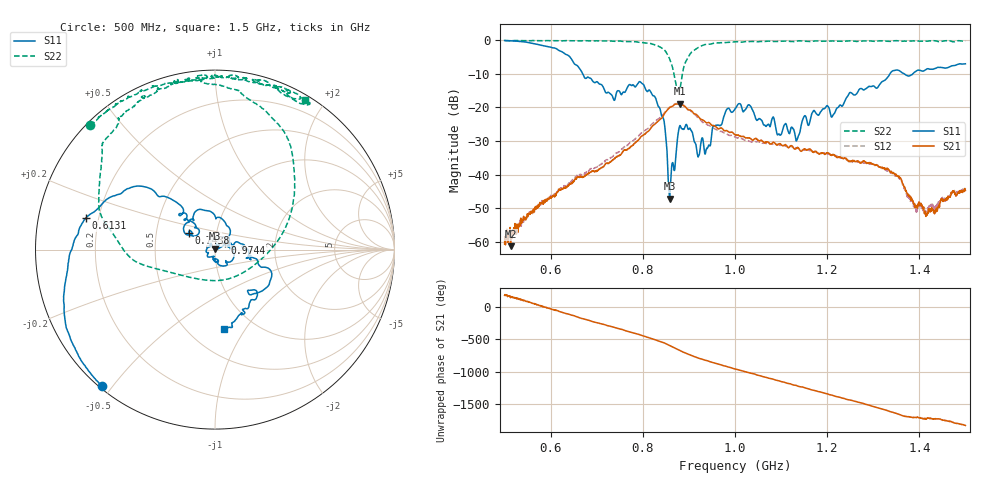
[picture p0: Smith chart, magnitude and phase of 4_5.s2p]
!Agilent Technologies,E8364B,US42250235,A.06.04.32
!Agilent E8364B: A.06.04.32
!Date: Friday, January 15, 2021 16:28:08
!Correction: S11(Full 2 Port(1,2)) S21(Full 2 Port(1,2)) S12(Full 2 Port(1,2)) S22(Full 2 Port(1,2))
!S2P File: Measurements: S11, S21, S12, S22:
# Hz S  dB  R 50
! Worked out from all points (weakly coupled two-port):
!   1601 points, 500 MHz to 1.5 GHz, reference 50 ohm
!   highest |S21| = -18.91 dB at 880 MHz (marker M1); lowest = -61.3 dB at 513.1 MHz (marker M2)
!   lowest |S11| = -47.2 dB at 858.1 MHz (marker M3), VSWR 1.01, Z = 50.1 + j0.434 ohm
!   |S11| at or under -10 dB: 669.6 MHz to 1.336 GHz (666.7 MHz wide, 66.5 % of centre); 1.367 GHz to 1.386 GHz (19.66 MHz wide, 1.43 % of centre)
!   |S22| runs from -15.2 to -0.1 dB; largest |S21 - S12| = 0.0081
!   S11 on the Smith chart (normalised r, x): 500 MHz: 0.01, -0.47; 613.1 MHz: 0.15, +0.12; 743.8 MHz: 0.74, +0.14; 974.4 MHz: 1.12, +0.08; 1.5 GHz: 0.73, -0.80
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5e8  -0.11 -129.5  -60.63 175.7  -60.30 -160.2  -0.17 135.1
5.13125e8  -0.19 -134.9  -61.32 138.2  -58.55 151.9  -0.19 132.0
6.13125e8  -2.62 166.1  -45.26 -56.3  -45.52 -52.1  -0.19 122.5
6.66875e8  -9.34 129.2  -40.61 -178.7  -40.15 -172.1  -0.21 114.7
7.4375e8  -15.32 147.6  -34.59 31.8  -33.49 34.4  -0.30 102.2
7.95625e8  -12.59 108.3  -28.75 -74.6  -27.76 -75.8  -0.73 90.7
8.3375e8  -19.76 42.0  -24.08 -164.9  -23.46 -168.9  -1.83 68.2
8.46875e8  -24.87 26.9  -21.91 163.5  -21.62 158.6  -2.95 53.6
8.58125e8  -47.19 82.7  -20.09 126.2  -20.00 123.0  -5.63 33.2
8.8e8  -25.56 105.6  -18.91 50.4  -18.84 47.5  -14.82 -112.8
9.075e8  -27.51 62.9  -21.32 -34.9  -21.55 -38.3  -3.40 161.6
9.19375e8  -34.52 35.8  -22.57 -65.7  -23.11 -68.5  -2.28 146.2
9.38125e8  -32.46 57.5  -24.61 -105.8  -25.11 -108.4  -1.27 136.3
9.74375e8  -23.37 33.1  -26.63 176.5  -27.42 177.9  -0.76 122.1
1e9  -20.53 3.8  -28.19 125.1  -28.87 128.9  -0.50 114.8
1.031875e9  -19.39 -57.3  -29.21 64.0  -30.10 68.7  -0.44 109.5
1.135e9  -29.51 145.4  -32.00 -133.0  -32.19 -129.7  -0.32 92.6
1.166875e9  -21.83 59.7  -33.00 162.4  -32.94 169.7  -0.37 89.8
1.2125e9  -22.37 18.4  -34.06 78.0  -34.21 81.3  -0.28 88.3
1.33375e9  -10.62 -19.5  -38.55 -163.4  -39.06 -158.2  -0.39 75.1
1.415e9  -8.73 -58.9  -51.57 77.0  -50.94 96.9  -0.34 65.4
1.5e9  -7.05 -83.7  -44.76 -22.4  -44.14 -23.6  -0.25 59.1
